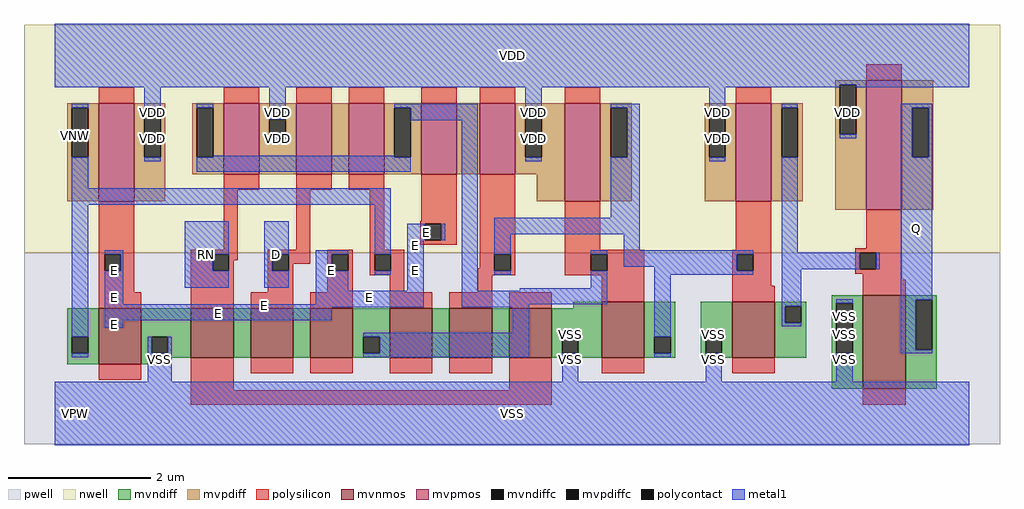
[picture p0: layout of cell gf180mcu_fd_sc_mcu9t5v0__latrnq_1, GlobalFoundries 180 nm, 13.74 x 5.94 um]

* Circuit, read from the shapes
.subckt gf180mcu_fd_sc_mcu9t5v0__latrnq_1 D E RN Q VDD VNW VPW VSS
XM1 VSS E n1 VPW nfet_06v0 w=0.79u l=0.6u
XM2 n2 RN VSS VPW nfet_06v0 w=0.7u l=0.6u
XM3 n3 D n2 VPW nfet_06v0 w=0.7u l=0.6u
XM4 n4 E n3 VPW nfet_06v0 w=0.7u l=0.6u
XM5 n5 n1 n4 VPW nfet_06v0 w=0.7u l=0.6u
XM6 n6 n7 n5 VPW nfet_06v0 w=0.7u l=0.6u
XM7 VSS RN n6 VPW nfet_06v0 w=0.7u l=0.6u
XM8 n7 n4 VSS VPW nfet_06v0 w=0.79u l=0.6u
XM9 n8 n7 VSS VPW nfet_06v0 w=0.79u l=0.6u
XM10 Q n8 VSS VPW nfet_06v0 w=1.32u l=0.6u
XM11 VDD E n1 VNW pfet_06v0 w=1.38u l=0.5u
XM12 VDD RN n4 VNW pfet_06v0 w=1u l=0.5u
XM13 n9 D VDD VNW pfet_06v0 w=1u l=0.5u
XM14 n4 n1 n9 VNW pfet_06v0 w=1u l=0.5u
XM15 n10 E n4 VNW pfet_06v0 w=1u l=0.5u
XM16 VDD n7 n10 VNW pfet_06v0 w=1u l=0.5u
XM17 n7 n4 VDD VNW pfet_06v0 w=1.38u l=0.5u
XM18 n8 n7 VDD VNW pfet_06v0 w=1.38u l=0.5u
XM19 Q n8 VDD VNW pfet_06v0 w=1.83u l=0.5u
.ends

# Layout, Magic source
magic
tech gf180mcuD
magscale 1 10
<< nwell >>
rect -86 453 2662 1094
<< pwell >>
rect -86 -86 2662 453
<< mvnmos >>
rect 124 139 244 297
rect 384 157 504 297
rect 552 157 672 297
rect 720 157 840 297
rect 944 157 1064 297
rect 1112 157 1232 297
rect 1280 157 1400 297
rect 1540 157 1660 315
rect 1908 157 2028 315
rect 2276 69 2396 333
<< mvpmos >>
rect 124 598 224 874
rect 476 674 576 874
rect 680 674 780 874
rect 828 674 928 874
rect 1032 674 1132 874
rect 1197 674 1297 874
rect 1437 598 1537 874
rect 1918 598 2018 874
rect 2286 573 2386 939
<< mvndiff >>
rect 1460 297 1540 315
rect 36 216 124 297
rect 36 170 49 216
rect 95 170 124 216
rect 36 139 124 170
rect 244 216 384 297
rect 244 170 273 216
rect 319 170 384 216
rect 244 157 384 170
rect 504 157 552 297
rect 672 157 720 297
rect 840 216 944 297
rect 840 170 869 216
rect 915 170 944 216
rect 840 157 944 170
rect 1064 157 1112 297
rect 1232 157 1280 297
rect 1400 216 1540 297
rect 1400 170 1429 216
rect 1475 170 1540 216
rect 1400 157 1540 170
rect 1660 216 1748 315
rect 1660 170 1689 216
rect 1735 170 1748 216
rect 1660 157 1748 170
rect 1820 216 1908 315
rect 1820 170 1833 216
rect 1879 170 1908 216
rect 1820 157 1908 170
rect 2028 302 2116 315
rect 2028 256 2057 302
rect 2103 256 2116 302
rect 2028 157 2116 256
rect 2188 310 2276 333
rect 2188 170 2201 310
rect 2247 170 2276 310
rect 244 139 324 157
rect 2188 69 2276 170
rect 2396 320 2484 333
rect 2396 180 2425 320
rect 2471 180 2484 320
rect 2396 69 2484 180
<< mvpdiff >>
rect 2198 926 2286 939
rect 36 861 124 874
rect 36 721 49 861
rect 95 721 124 861
rect 36 598 124 721
rect 224 861 312 874
rect 224 721 253 861
rect 299 721 312 861
rect 224 598 312 721
rect 388 861 476 874
rect 388 721 401 861
rect 447 721 476 861
rect 388 674 476 721
rect 576 829 680 874
rect 576 783 605 829
rect 651 783 680 829
rect 576 674 680 783
rect 780 674 828 874
rect 928 861 1032 874
rect 928 721 957 861
rect 1003 721 1032 861
rect 928 674 1032 721
rect 1132 674 1197 874
rect 1297 861 1437 874
rect 1297 721 1326 861
rect 1372 721 1437 861
rect 1297 674 1437 721
rect 1357 598 1437 674
rect 1537 861 1625 874
rect 1537 721 1566 861
rect 1612 721 1625 861
rect 1537 598 1625 721
rect 1830 861 1918 874
rect 1830 721 1843 861
rect 1889 721 1918 861
rect 1830 598 1918 721
rect 2018 861 2106 874
rect 2018 721 2047 861
rect 2093 721 2106 861
rect 2018 598 2106 721
rect 2198 786 2211 926
rect 2257 786 2286 926
rect 2198 573 2286 786
rect 2386 861 2474 939
rect 2386 721 2415 861
rect 2461 721 2474 861
rect 2386 573 2474 721
<< mvndiffc >>
rect 49 170 95 216
rect 273 170 319 216
rect 869 170 915 216
rect 1429 170 1475 216
rect 1689 170 1735 216
rect 1833 170 1879 216
rect 2057 256 2103 302
rect 2201 170 2247 310
rect 2425 180 2471 320
<< mvpdiffc >>
rect 49 721 95 861
rect 253 721 299 861
rect 401 721 447 861
rect 605 783 651 829
rect 957 721 1003 861
rect 1326 721 1372 861
rect 1566 721 1612 861
rect 1843 721 1889 861
rect 2047 721 2093 861
rect 2211 786 2257 926
rect 2415 721 2461 861
<< polysilicon >>
rect 2286 939 2386 983
rect 124 874 224 918
rect 476 874 576 918
rect 680 874 780 918
rect 828 874 928 918
rect 1032 874 1132 918
rect 1197 874 1297 918
rect 1437 874 1537 918
rect 1918 874 2018 918
rect 476 630 576 674
rect 680 630 780 674
rect 828 630 928 674
rect 124 448 224 598
rect 476 461 516 630
rect 680 461 720 630
rect 888 461 928 630
rect 1032 541 1132 674
rect 1030 534 1132 541
rect 1030 488 1043 534
rect 1089 488 1132 534
rect 1030 475 1132 488
rect 124 402 141 448
rect 187 402 224 448
rect 124 341 224 402
rect 384 448 516 461
rect 384 402 445 448
rect 491 432 516 448
rect 600 448 720 461
rect 491 402 504 432
rect 124 297 244 341
rect 384 297 504 402
rect 600 402 613 448
rect 659 421 720 448
rect 768 448 840 461
rect 659 402 672 421
rect 600 341 672 402
rect 768 402 781 448
rect 827 402 840 448
rect 768 341 840 402
rect 888 448 984 461
rect 888 402 901 448
rect 947 402 984 448
rect 1197 448 1297 674
rect 1197 409 1238 448
rect 888 389 984 402
rect 552 297 672 341
rect 720 297 840 341
rect 944 341 984 389
rect 1192 402 1238 409
rect 1284 402 1297 448
rect 1192 389 1297 402
rect 1437 461 1537 598
rect 1918 461 2018 598
rect 2286 465 2386 573
rect 1437 448 1660 461
rect 1437 402 1510 448
rect 1556 402 1660 448
rect 1437 389 1660 402
rect 1192 341 1232 389
rect 944 297 1064 341
rect 1112 297 1232 341
rect 1280 297 1400 341
rect 1540 315 1660 389
rect 1908 448 2018 461
rect 1908 402 1921 448
rect 1967 402 2018 448
rect 1908 359 2018 402
rect 2254 452 2386 465
rect 2254 406 2267 452
rect 2313 406 2386 452
rect 2254 393 2386 406
rect 2276 377 2386 393
rect 1908 315 2028 359
rect 2276 333 2396 377
rect 124 95 244 139
rect 384 65 504 157
rect 552 113 672 157
rect 720 113 840 157
rect 944 113 1064 157
rect 1112 113 1232 157
rect 1280 65 1400 157
rect 1540 113 1660 157
rect 1908 113 2028 157
rect 384 25 1400 65
rect 2276 25 2396 69
<< polycontact >>
rect 1043 488 1089 534
rect 141 402 187 448
rect 445 402 491 448
rect 613 402 659 448
rect 781 402 827 448
rect 901 402 947 448
rect 1238 402 1284 448
rect 1510 402 1556 448
rect 1921 402 1967 448
rect 2267 406 2313 452
<< metal1 >>
rect 0 926 2576 1098
rect 0 918 2211 926
rect 49 861 95 872
rect 49 634 95 721
rect 253 861 299 918
rect 253 710 299 721
rect 401 861 447 872
rect 605 829 651 918
rect 605 772 651 783
rect 957 861 1192 872
rect 447 721 957 726
rect 1003 826 1192 861
rect 401 680 1003 721
rect 49 588 947 634
rect 49 216 95 588
rect 141 448 194 459
rect 187 402 194 448
rect 141 308 194 402
rect 366 448 491 542
rect 366 402 445 448
rect 366 354 491 402
rect 590 448 659 542
rect 590 402 613 448
rect 590 354 659 402
rect 735 448 827 459
rect 735 402 781 448
rect 735 345 827 402
rect 901 448 947 588
rect 901 391 947 402
rect 993 488 1043 534
rect 1089 488 1100 534
rect 993 345 1039 488
rect 735 308 1039 345
rect 141 299 1039 308
rect 1146 345 1192 826
rect 1326 861 1372 918
rect 1326 710 1372 721
rect 1566 861 1648 872
rect 1612 721 1648 861
rect 1566 551 1648 721
rect 1843 861 1889 918
rect 1843 710 1889 721
rect 2047 861 2093 872
rect 2257 918 2576 926
rect 2211 775 2257 786
rect 2382 861 2471 872
rect 1238 505 1648 551
rect 1238 448 1284 505
rect 1602 459 1648 505
rect 1238 391 1284 402
rect 1510 448 1556 459
rect 1602 448 1967 459
rect 1602 413 1921 448
rect 1510 353 1556 402
rect 1310 345 1556 353
rect 1146 307 1556 345
rect 1689 402 1921 413
rect 1689 391 1967 402
rect 2047 452 2093 721
rect 2382 721 2415 861
rect 2461 721 2471 861
rect 2047 406 2267 452
rect 2313 406 2324 452
rect 1146 299 1336 307
rect 141 262 781 299
rect 141 242 194 262
rect 1290 227 1336 299
rect 869 216 1336 227
rect 49 159 95 170
rect 262 170 273 216
rect 319 170 330 216
rect 262 90 330 170
rect 915 170 1336 216
rect 869 159 1336 170
rect 1429 216 1475 227
rect 1429 90 1475 170
rect 1689 216 1735 391
rect 2047 302 2103 406
rect 2047 256 2057 302
rect 2047 245 2103 256
rect 2201 310 2247 321
rect 1689 159 1735 170
rect 1833 216 1879 227
rect 1833 90 1879 170
rect 2201 90 2247 170
rect 2382 320 2471 721
rect 2382 180 2425 320
rect 2382 169 2471 180
rect 0 -90 2576 90
<< labels >>
flabel metal1 s 590 354 659 542 0 FreeSans 200 0 0 0 D
port 1 nsew default input
flabel metal1 s 993 488 1100 534 0 FreeSans 200 0 0 0 E
port 2 nsew clock input
flabel metal1 s 2382 169 2471 872 0 FreeSans 200 0 0 0 Q
port 4 nsew default output
flabel metal1 s 366 354 491 542 0 FreeSans 200 0 0 0 RN
port 3 nsew default input
flabel metal1 s 0 918 2576 1098 0 FreeSans 200 0 0 0 VDD
port 5 nsew power bidirectional abutment
flabel metal1 s 2201 227 2247 321 0 FreeSans 200 0 0 0 VSS
port 8 nsew ground bidirectional abutment
flabel nwell s 10 734 110 834 0 FreeSans 400 0 0 0 VNW
port 6 nsew power bidirectional
flabel pwell s 10 -50 110 50 0 FreeSans 400 0 0 0 VPW
port 7 nsew ground bidirectional
rlabel metal1 s 993 459 1039 488 1 E
port 2 nsew clock input
rlabel metal1 s 993 345 1039 459 1 E
port 2 nsew clock input
rlabel metal1 s 735 345 827 459 1 E
port 2 nsew clock input
rlabel metal1 s 141 345 194 459 1 E
port 2 nsew clock input
rlabel metal1 s 735 308 1039 345 1 E
port 2 nsew clock input
rlabel metal1 s 141 308 194 345 1 E
port 2 nsew clock input
rlabel metal1 s 141 299 1039 308 1 E
port 2 nsew clock input
rlabel metal1 s 141 262 781 299 1 E
port 2 nsew clock input
rlabel metal1 s 141 242 194 262 1 E
port 2 nsew clock input
rlabel metal1 s 2211 775 2257 918 1 VDD
port 5 nsew power bidirectional abutment
rlabel metal1 s 1843 775 1889 918 1 VDD
port 5 nsew power bidirectional abutment
rlabel metal1 s 1326 775 1372 918 1 VDD
port 5 nsew power bidirectional abutment
rlabel metal1 s 605 775 651 918 1 VDD
port 5 nsew power bidirectional abutment
rlabel metal1 s 253 775 299 918 1 VDD
port 5 nsew power bidirectional abutment
rlabel metal1 s 1843 772 1889 775 1 VDD
port 5 nsew power bidirectional abutment
rlabel metal1 s 1326 772 1372 775 1 VDD
port 5 nsew power bidirectional abutment
rlabel metal1 s 605 772 651 775 1 VDD
port 5 nsew power bidirectional abutment
rlabel metal1 s 253 772 299 775 1 VDD
port 5 nsew power bidirectional abutment
rlabel metal1 s 1843 710 1889 772 1 VDD
port 5 nsew power bidirectional abutment
rlabel metal1 s 1326 710 1372 772 1 VDD
port 5 nsew power bidirectional abutment
rlabel metal1 s 253 710 299 772 1 VDD
port 5 nsew power bidirectional abutment
rlabel metal1 s 2201 216 2247 227 1 VSS
port 8 nsew ground bidirectional abutment
rlabel metal1 s 1833 216 1879 227 1 VSS
port 8 nsew ground bidirectional abutment
rlabel metal1 s 1429 216 1475 227 1 VSS
port 8 nsew ground bidirectional abutment
rlabel metal1 s 2201 90 2247 216 1 VSS
port 8 nsew ground bidirectional abutment
rlabel metal1 s 1833 90 1879 216 1 VSS
port 8 nsew ground bidirectional abutment
rlabel metal1 s 1429 90 1475 216 1 VSS
port 8 nsew ground bidirectional abutment
rlabel metal1 s 262 90 330 216 1 VSS
port 8 nsew ground bidirectional abutment
rlabel metal1 s 0 -90 2576 90 1 VSS
port 8 nsew ground bidirectional abutment
<< properties >>
string FIXED_BBOX 0 0 2576 1008
string GDS_END 1008902
string GDS_FILE $PDKPATH/libs.ref/gf180mcu_fd_sc_mcu9t5v0/gds/gf180mcu_fd_sc_mcu9t5v0.gds
string GDS_START 1002004
string LEFclass core
string LEFsite GF018hv5v_green_sc9
string LEFsymmetry X Y
<< end >>
